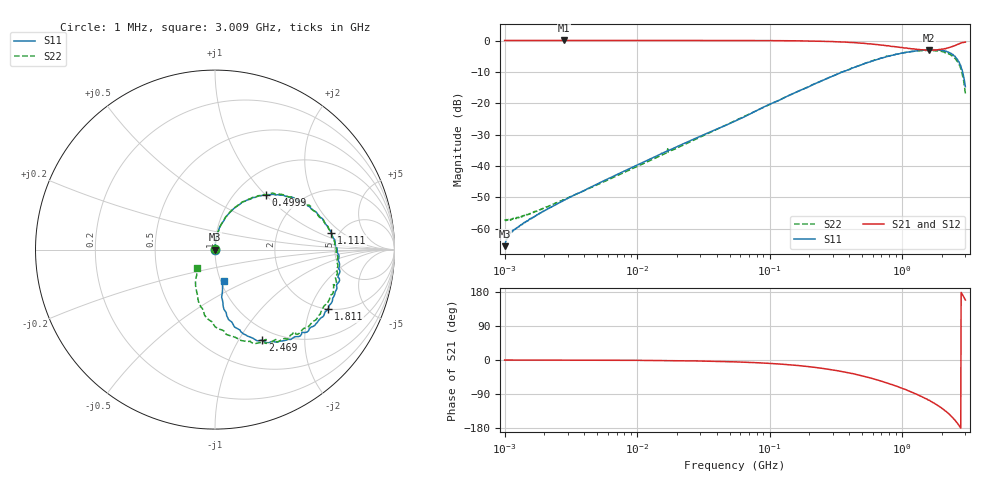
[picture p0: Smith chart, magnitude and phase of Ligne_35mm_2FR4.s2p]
! MS46522B
! 1629104/M1: 82820001
! 9/7/2022 4:15:14 PM
! D:\MESURE_MONTURE_07092022\LIGNE_35MM_2FR4.S2P
! CHANNEL.1
! TR.MEASUREMENT
! CORRECTED.DATA
# GHZ S RI R 50.0
! FREQ.GHZ  S11RE  S11IM  S21RE  S21IM  S12RE  S12IM  S22RE  S22IM
!; PortSelection: Port_12
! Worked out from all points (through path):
!   1295 points, 1 MHz to 3.009 GHz, reference 50 ohm
!   highest |S21| = 0.01 dB at 2.794 MHz (marker M1); lowest = -3.1 dB at 1.591 GHz (marker M2)
!   group delay of S21, straight-line fit = 182 ps
!   lowest |S11| = -65.6 dB at 1 MHz (marker M3), VSWR 1.00, Z = 50 + j0.0519 ohm
!   |S11| at or under -10 dB: start of sweep to 357.5 MHz; 2.865 GHz to end of sweep
!   |S22| runs from -57.5 to -3.1 dB; largest |S21 - S12| = 0.052
!   S11 on the Smith chart (normalised r, x): 1 MHz: 1.00, +0.00; 499.9 MHz: 1.36, +0.99; 1.111 GHz: 4.33, +1.41; 1.811 GHz: 1.99, -2.68; 2.469 GHz: 0.85, -1.27; 3.009 GHz: 1.04, -0.38
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0.001  6.44e-05 0.000519  1.001 -0.00164  0.9987 -0.00147  7.67e-05 0.00139
0.001090521  0.000117 0.000829  1.001 -0.00183  0.9988 -0.00173  6.68e-05 0.00139
0.001167357  0.000158 0.000927  1.001 -0.00195  0.9988 -0.0018  3.83e-05 0.00144
0.002794035  0.00026 0.00279  1.002 -0.00444  0.9986 -0.00428  -2.7e-06 0.00287
0.003807492  0.000296 0.00384  1.001 -0.00587  0.9986 -0.00593  1.11e-05 0.00386
0.014497  0.000306 0.0148  1.001 -0.0222  0.9983 -0.0223  0.000277 0.014
0.05485661  0.0047 0.0513  0.9959 -0.0857  0.9931 -0.0851  0.00453 0.0521
0.1131727  0.0199 0.105  0.979 -0.1747  0.9766 -0.1737  0.0191 0.1056
0.2088661  0.0621 0.1845  0.9295 -0.309  0.928 -0.3085  0.0632 0.1851
0.3512951  0.162 0.2674  0.8189 -0.4762  0.8185 -0.4776  0.1626 0.2685
0.4999152  0.2814 0.3023  0.6755 -0.6034  0.6735 -0.6065  0.2842 0.3037
0.6094203  0.3691 0.3028  0.5608 -0.6659  0.559 -0.6703  0.3705 0.3073
0.7952563  0.503 0.255  0.3809 -0.7283  0.3758 -0.7306  0.5033 0.2528
1.110879  0.6489 0.0927  0.119 -0.7376  0.0989 -0.7434  0.6502 0.0849
1.337554  0.6888 -0.0506  -0.0366 -0.7192  -0.0578 -0.7154  0.6774 -0.0622
1.590667  0.6779 -0.2052  -0.1925 -0.6735  -0.2059 -0.6704  0.6596 -0.2292
1.811466  0.6295 -0.3322  -0.3231 -0.6293  -0.3416 -0.6033  0.5903 -0.3468
2.208263  0.4383 -0.4895  -0.5732 -0.4937  -0.5796 -0.4726  0.3691 -0.503
2.468524  0.263 -0.505  -0.7469 -0.3308  -0.7402 -0.3149  0.1708 -0.5109
2.742432  0.0944 -0.4045  -0.8937 -0.0496  -0.8773 -0.0402  -0.0453 -0.3831
2.828633  0.0571 -0.3434  -0.9147 0.0733  -0.8988 0.0807  -0.09 -0.2967
3.009248  0.0521 -0.1761  -0.874 0.3492  -0.8569 0.3433  -0.1019 -0.1006
